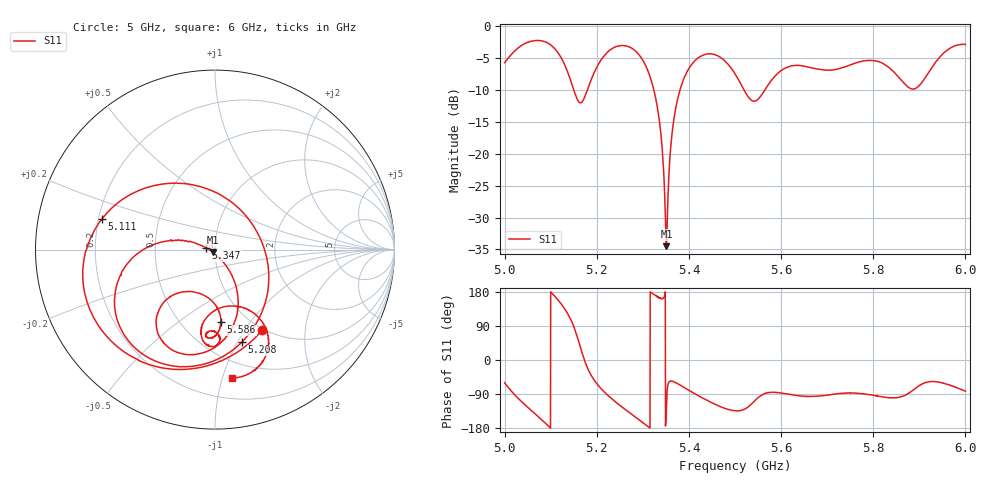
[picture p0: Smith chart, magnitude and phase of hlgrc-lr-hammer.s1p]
# HZ S RI R 50
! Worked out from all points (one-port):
!   2020 points, 5 GHz to 6 GHz, reference 50 ohm
!   lowest |S11| = -34.5 dB at 5.351 GHz (marker M1), VSWR 1.04, Z = 48.9 - j1.54 ohm
!   |S11| at or under -10 dB: 5.15 GHz to 5.179 GHz (29.32 MHz wide, 0.568 % of centre); 5.324 GHz to 5.38 GHz (56.54 MHz wide, 1.06 % of centre); 5.52 GHz to 5.565 GHz (44.8 MHz wide, 0.808 % of centre)
!   S11 on the Smith chart (normalised r, x): 5 GHz: 0.98, -1.20; 5.111 GHz: 0.21, +0.13; 5.208 GHz: 0.72, -1.04; 5.347 GHz: 0.91, +0.02; 5.586 GHz: 0.76, -0.74; 6 GHz: 0.36, -1.08
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5e9  0.2629 -0.4477
5.025755e9  -0.0762 -0.6554
5.048539e9  -0.4088 -0.625
5.082714e9  -0.7215 -0.2611
5.111441e9  -0.6293 0.1718
5.12531e9  -0.4396 0.3228
5.146112e9  -0.0613 0.3448
5.169886e9  0.2554 0.0552
5.208024e9  0.1496 -0.5153
5.250124e9  -0.3538 -0.6114
5.28529e9  -0.5597 -0.299
5.318475e9  -0.3745 0.0144
5.336801e9  -0.1637 0.05
5.347202e9  -0.049 0.00913
5.351164e9  -0.0104 -0.0158
5.363051e9  0.0791 -0.1164
5.375434e9  0.1238 -0.2384
5.431897e9  -0.1192 -0.5854
5.469044e9  -0.3141 -0.4757
5.500248e9  -0.2943 -0.3049
5.540862e9  -0.0891 -0.243
5.586429e9  0.0331 -0.405
5.625062e9  -0.0159 -0.4916
5.750372e9  0.0322 -0.4978
5.81476e9  -0.0568 -0.5217
5.875186e9  0.00585 -0.3353
5.943042e9  0.2963 -0.4837
6.000001e9  0.0969 -0.7156
